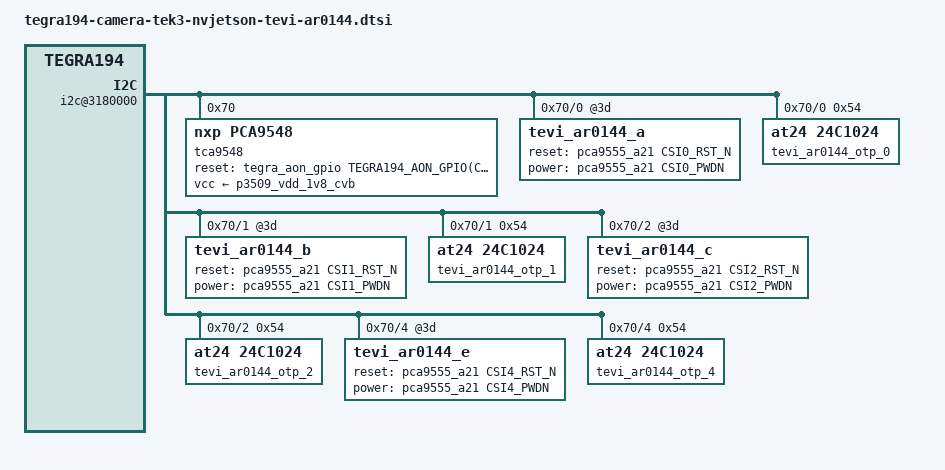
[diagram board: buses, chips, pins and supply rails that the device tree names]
/*
 * Copyright (c) 2021, NVIDIA CORPORATION.  All rights reserved.
 *
 * This program is free software; you can redistribute it and/or modify
 * it under the terms of the GNU General Public License as published by
 * the Free Software Foundation; either version 2 of the License, or
 * (at your option) any later version.
 *
 * This program is distributed in the hope that it will be useful, but WITHOUT
 * ANY WARRANTY; without even the implied warranty of MERCHANTABILITY or
 * FITNESS FOR A PARTICULAR PURPOSE.  See the GNU General Public License for
 * more details.
 *
 * You should have received a copy of the GNU General Public License
 * along with this program.  If not, see <http://www.gnu.org/licenses/>.
 */

#include "tegra194-camera-tek3-tevi-ar0144.dtsi"

//Define GPIO number for pca9555_a21
#define CSI0_PWDN	0
#define CSI0_PDB	1
#define CSI0_RST_N	2
#define INFO0_TRIG_IN	3
#define CSI1_PWDN	4
#define CSI1_PDB	5
#define CSI1_RST_N	6
#define INFO1_TRIG_IN	7
#define CSI2_PWDN	8
#define CSI2_PDB	9
#define CSI2_RST_N	10
#define INFO2_TRIG_IN	11
#define CSI4_PWDN	12
#define CSI4_PDB	13
#define CSI4_RST_N	14
#define INFO4_TRIG_IN	15
#define CAMERA_I2C_MUX_BUS(x) (0x1E + x)

/ {
	i2c@3180000 { /* cam_i2c */
		tca9548@70 {
			compatible = "nxp,pca9548";
			reg = <0x70>;
			#address-cells = <1>;
			#size-cells = <0>;
			reset-gpios = <&tegra_aon_gpio TEGRA194_AON_GPIO(CC, 3) GPIO_ACTIVE_LOW>;
			skip_mux_detect = "yes";
			vcc-supply = <&p3509_vdd_1v8_cvb>;
			vcc_lp = "vcc";
			force_bus_start = <CAMERA_I2C_MUX_BUS(0)>;

			i2c@0 {
				reg = <0>;
				i2c-mux,deselect-on-exit;
				#address-cells = <1>;
				#size-cells = <0>;
				tevi_ar0144_a@3d {
					reset-gpios = <&pca9555_a21 CSI0_RST_N GPIO_ACTIVE_HIGH>;
					power-gpios = <&pca9555_a21 CSI0_PWDN GPIO_ACTIVE_HIGH>;
					nvmem = <&tevi_ar0144_otp_0>;
					nvmem-names = "calib-data";
				};

				tevi_ar0144_otp_0: tevi_ar0144_otp@54 {
					compatible = "at24,24c1024";
					pagesize = <32>;
					reg = <0x54>;
				};
			};
			i2c@1 {
				reg = <1>;
				i2c-mux,deselect-on-exit;
				#address-cells = <1>;
				#size-cells = <0>;
				tevi_ar0144_b@3d {
					reset-gpios = <&pca9555_a21 CSI1_RST_N GPIO_ACTIVE_HIGH>;
					power-gpios = <&pca9555_a21 CSI1_PWDN GPIO_ACTIVE_HIGH>;
					nvmem = <&tevi_ar0144_otp_1>;
					nvmem-names = "calib-data";
				};

				tevi_ar0144_otp_1: tevi_ar0144_otp@54 {
					compatible = "at24,24c1024";
					pagesize = <32>;
					reg = <0x54>;
				};
			};
			i2c@2 {
				reg = <2>;
				i2c-mux,deselect-on-exit;
				#address-cells = <1>;
				#size-cells = <0>;
				tevi_ar0144_c@3d {
					reset-gpios = <&pca9555_a21 CSI2_RST_N GPIO_ACTIVE_HIGH>;
					power-gpios = <&pca9555_a21 CSI2_PWDN GPIO_ACTIVE_HIGH>;
					nvmem = <&tevi_ar0144_otp_2>;
					nvmem-names = "calib-data";
				};

				tevi_ar0144_otp_2: tevi_ar0144_otp@54 {
					compatible = "at24,24c1024";
					pagesize = <32>;
					reg = <0x54>;
				};
			};
			i2c@4{
				reg = <4>;
				i2c-mux,deselect-on-exit;
				#address-cells = <1>;
				#size-cells = <0>;
				tevi_ar0144_e@3d {
					reset-gpios = <&pca9555_a21 CSI4_RST_N GPIO_ACTIVE_HIGH>;
					power-gpios = <&pca9555_a21 CSI4_PWDN GPIO_ACTIVE_HIGH>;
					nvmem = <&tevi_ar0144_otp_4>;
					nvmem-names = "calib-data";
				};

				tevi_ar0144_otp_4: tevi_ar0144_otp@54 {
					compatible = "at24,24c1024";
					pagesize = <32>;
					reg = <0x54>;
				};
			};
		};
	};
};
